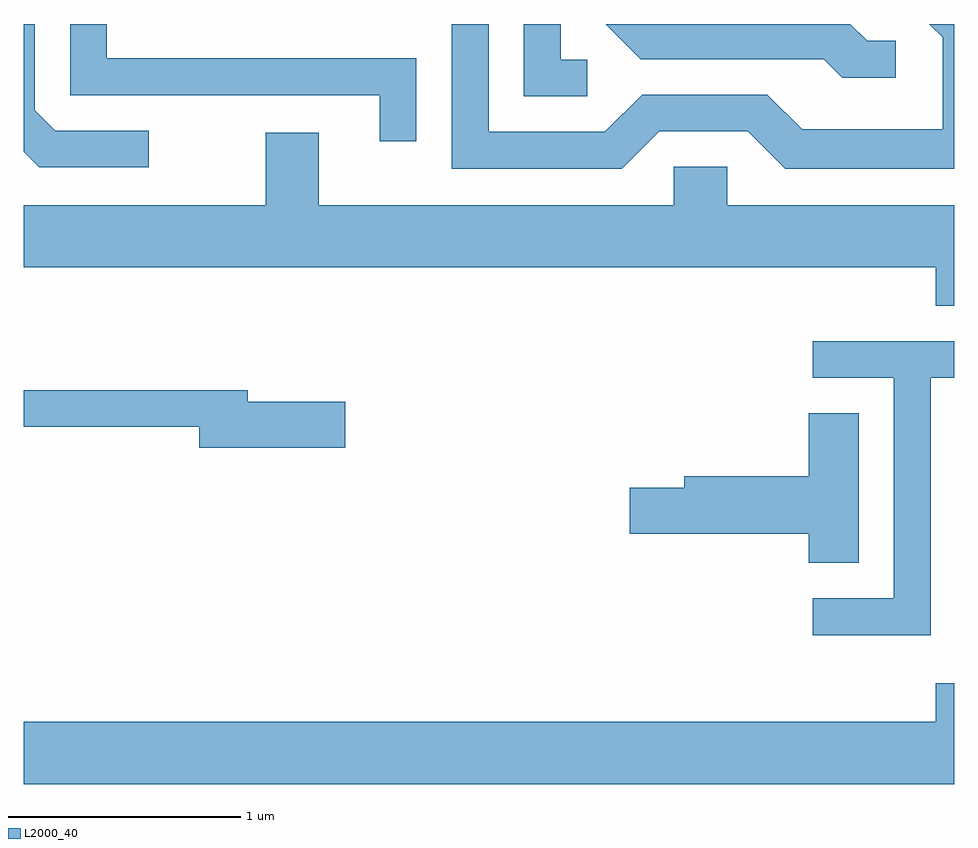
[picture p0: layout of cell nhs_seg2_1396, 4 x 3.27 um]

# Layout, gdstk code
import gdstk
lib = gdstk.Library(unit=1e-6, precision=1e-09)
def P(c, l, *ps):  # polygons
    for p in ps: c.add(gdstk.Polygon(p, *l))
L2000_40 = (2000, 40)

nhs_seg2_1396 = lib.new_cell('nhs_seg2_1396')
P(nhs_seg2_1396, L2000_40, [(226.148,1053.344),(225.747,1053.344),(225.659,1053.432),(225.659,1053.802),(225.611,1053.802),(225.611,1053.254),(225.679,1053.186),(226.148,1053.186)],
  [(229.358,1053.729),(229.237,1053.729),(229.164,1053.802),(228.113,1053.802),(228.264,1053.651),(229.049,1053.651),(229.129,1053.571),(229.358,1053.571)],
  [(228.342,1053.341),(228.724,1053.341),(228.884,1053.181),(229.611,1053.181),(229.611,1053.802),(229.503,1053.802),(229.561,1053.744),(229.561,1053.349),(228.957,1053.349),(228.807,1053.499),(228.269,1053.499),(228.109,1053.339),(227.609,1053.339),(227.609,1053.802),(227.451,1053.802),(227.451,1053.181),(228.182,1053.181)],
  [(228.033,1053.649),(227.919,1053.649),(227.919,1053.802),(227.761,1053.802),(227.761,1053.491),(228.033,1053.491)],
  [(227.299,1053.654),(225.969,1053.654),(225.969,1053.802),(225.811,1053.802),(225.811,1053.496),(227.141,1053.496),(227.141,1053.298),(227.299,1053.298)],
  [(229.531,1052.591),(229.611,1052.591),(229.611,1053.024),(228.634,1053.024),(228.634,1053.189),(228.406,1053.189),(228.406,1053.024),(226.879,1053.024),(226.879,1053.334),(226.651,1053.334),(226.651,1053.024),(225.611,1053.024),(225.611,1052.756),(229.531,1052.756)],
  [(229.509,1052.281),(229.611,1052.281),(229.611,1052.439),(229.003,1052.439),(229.003,1052.281),(229.351,1052.281),(229.351,1051.334),(229.003,1051.334),(229.003,1051.176),(229.509,1051.176)],
  [(226.994,1052.179),(226.574,1052.179),(226.574,1052.229),(225.611,1052.229),(225.611,1052.071),(226.366,1052.071),(226.366,1051.981),(226.994,1051.981)],
  [(229.199,1052.129),(228.986,1052.129),(228.986,1051.859),(228.451,1051.859),(228.451,1051.809),(228.216,1051.809),(228.216,1051.611),(228.986,1051.611),(228.986,1051.486),(229.199,1051.486)],
  [(229.611,1050.969),(229.531,1050.969),(229.531,1050.804),(225.611,1050.804),(225.611,1050.536),(229.611,1050.536)])

lib.write_gds('nhs_seg2_1396.gds')
